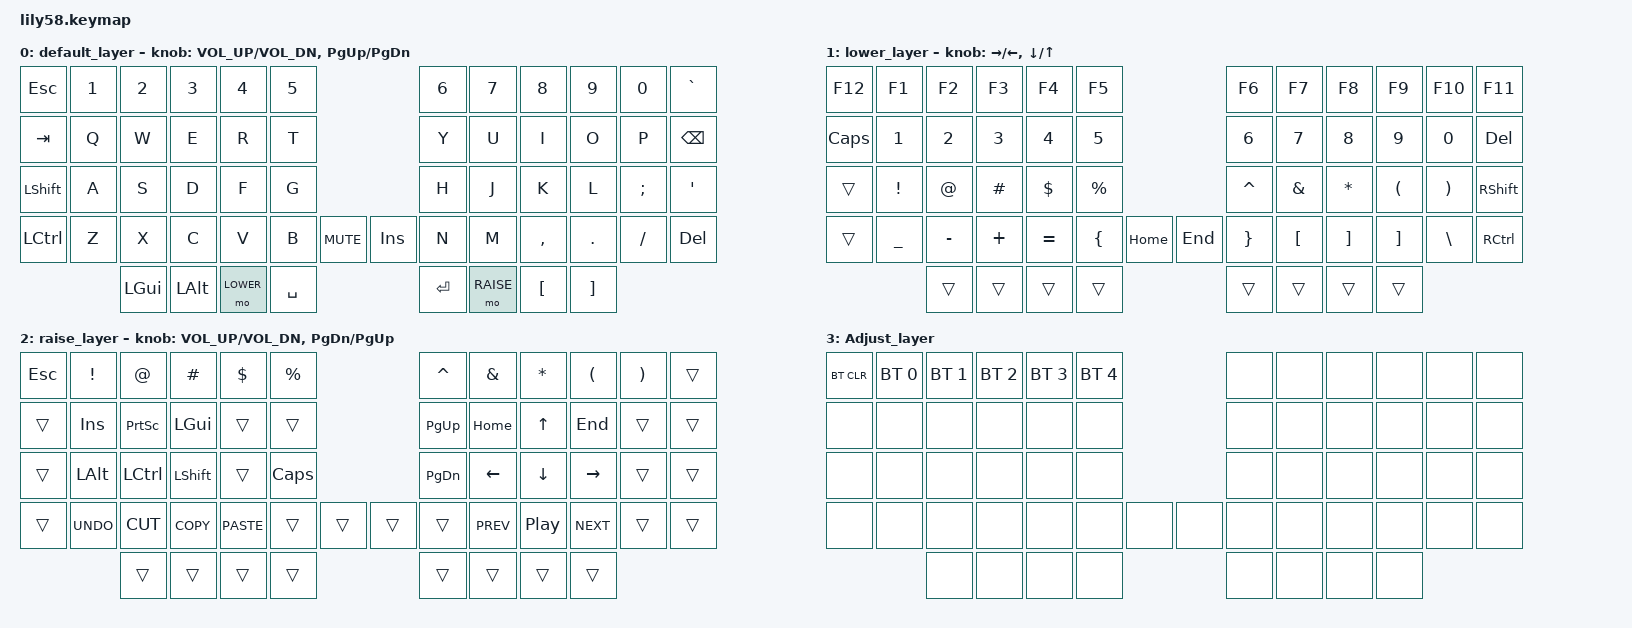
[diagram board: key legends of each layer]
/*
 * Copyright (c) 2020 The ZMK Contributors
 *
 * SPDX-License-Identifier: MIT
 */

#include <behaviors.dtsi>
#include <dt-bindings/zmk/keys.h>
#include <dt-bindings/zmk/bt.h>
#include <dt-bindings/zmk/ext_power.h>
 
#define BASE 0
#define LOWER 1
#define RAISE 2
#define ADJUST 3

/ {

   // Activate ADJUST layer by pressing raise and lower
    conditional_layers {
        compatible = "zmk,conditional-layers";
        adjust_layer {
            if-layers = <LOWER RAISE>;
            then-layer = <ADJUST>;
        };
    };

    keymap {
        compatible = "zmk,keymap";

        default_layer {
// ------------------------------------------------------------------------------------------------------------
// |  ESC  |  1  |  2  |  3   |  4   |  5   |                   |  6   |  7    |  8    |  9   |   0   |   -   |
// |  TAB  |  Q  |  W  |  E   |  R   |  T   |                   |  Y   |  U    |  I    |  O   |   P   | BKSPC |
// | SHIFT |  A  |  S  |  D   |  F   |  G   |                   |  H   |  J    |  K    |  L   |   ;   |   '   |
// | LCTRL |  Z  |  X  |  C   |  V   |  B   |  MUTE  |  |       |  N   |  M    |  ,    |  .   |   /   | SHIFT |
//                     | GUI |  ALT  |LOWER | ENTER  |  | SPACE | RAISE |   [  |   ]   | 
            bindings = <
&kp ESC   &kp N1   &kp N2   &kp N3    &kp N4    &kp N5                       &kp N6  &kp N7    &kp N8    &kp N9   &kp N0    &kp GRAVE
&kp TAB   &kp Q    &kp W    &kp E     &kp R     &kp T                        &kp Y   &kp U     &kp I     &kp O    &kp P     &kp BSPC
&kp LSHFT &kp A    &kp S    &kp D     &kp F     &kp G                        &kp H   &kp J     &kp K     &kp L    &kp SEMI  &kp SQT
&kp LCTRL &kp Z    &kp X    &kp C     &kp V     &kp B   &kp C_MUTE  &kp INS  &kp N   &kp M     &kp COMMA &kp DOT  &kp FSLH   &kp DEL
                   &kp LGUI &kp LALT  &mo LOWER &kp SPACE                    &kp RET &mo RAISE  &kp LBKT &kp RBKT  
            >;

            sensor-bindings = <&inc_dec_kp C_VOL_UP C_VOL_DN &inc_dec_kp  PG_UP PG_DN>;
        };

        lower_layer {
// TODO: Some binds are waiting for shifted keycode support.
// ------------------------------------------------------------------------------------------------------------
// |  F12  |  F1 |  F2 |  F3  |  F4  |  F5  |                   |  F6  |  F7   |  F8   |  F9  |  F10  |  F11  |
// |  CAPS |   1 |   2 |   3  |   4  |   5  |                   |   6  |   7   |   8   |   9  |    0  |  DEL  |
// | SHIFT |  !  |  @  |  #   |  $   |  %   |                   |  ^   |  &    |  *    |  (   |   )   | RSHFT |
// | LCTRL |  _  |  -  |  +   |  =   |  {   |        |  |       |  }   |  [    |  ]    |  \   |   |   | RCTRL |
//                     | GUI |  ALT  |LOWER | ENTER  |  | SPACE | RAISE |   [  |   ]   |
            bindings = <
&kp F12   &kp F1      &kp F2     &kp F3      &kp F4       &kp F5                           &kp F6      &kp F7    &kp F8        &kp F9     &kp F10    &kp F11
&kp CAPS  &kp N1      &kp N2     &kp N3      &kp N4       &kp N5                           &kp N6      &kp N7    &kp N8        &kp N9     &kp N0     &kp DEL
&trans    &kp EXCL    &kp AT     &kp HASH    &kp DOLLAR   &kp PERCENT                      &kp CARET   &kp AMPS  &kp ASTRK     &kp LPAR   &kp RPAR   &kp RSHFT
&trans    &kp UNDER   &kp MINUS  &kp PLUS    &kp EQUAL    &kp LBRC     &kp HOME   &kp END  &kp RBRC    &kp LBKT  &kp RBKT      &kp RBKT   &kp BSLH   &kp RCTRL
                      &trans     &trans      &trans       &trans                           &trans      &trans    &trans        &trans
            >;

            sensor-bindings = <&inc_dec_kp RIGHT LEFT &inc_dec_kp DOWN UP>;
        };

        raise_layer {
// ------------------------------------------------------------------------------------------------------------
// | ESC |  !   |  @   |  #    |  $    |  %   |                |  ^   |  &   |  *    |  (   |   )   |       |
// |     | INS  | PSCR | GUI   |       |      |                |PG_UP | HOME |   ↑   | END  |       |       |
// |     | ALT  | CTRL | SHIFT |       | CAPS |                |PG_DN |  <   |   ↓   |  ->  |       |       |
// |     | UNDO | CUT  | COPY  | PASTE |      |      |  |      |      | Prev | Play  | Next |       |       |
//              |      |       |       |      |      |  |      |      |      |       |      |
            bindings = <
&kp ESC    &kp EXCL     &kp AT       &kp HASH     &kp DOLLAR   &kp PERCENT                     &kp CARET     &kp AMPS       &kp ASTRK     &kp LPAR    &kp RPAR    &trans
&trans     &kp INS      &kp PSCRN    &kp LGUI     &trans       &trans                          &kp PG_UP     &kp HOME       &kp UP        &kp END     &trans      &trans
&trans     &kp LALT     &kp LCTRL    &kp LSHFT    &trans       &kp CLCK                        &kp PG_DN     &kp LEFT       &kp DOWN      &kp RIGHT   &trans      &trans
&trans     &kp K_UNDO   &kp K_CUT    &kp K_COPY   &kp K_PASTE  &trans        &trans   &trans   &trans        &kp C_PREV     &kp C_PP      &kp C_NEXT  &trans      &trans 
                        &trans       &trans       &trans       &trans                          &trans        &trans         &trans        &trans
            >;

            sensor-bindings = <&inc_dec_kp C_VOL_UP C_VOL_DN &inc_dec_kp PG_DN PG_UP>;
        };

// ------------------------------------------------------------------------------------------------------------
// |BTCLR | BT1   | BT2   |  BT3  |  BT4  |  BT5  |                |      |      |       |      |       |       |
// |      |       |       |       |       |       |                |      |      |       |      |       |       |
// |      |       |       |       |       |       |                |      |      |       |      |       |       |
// |      |       |       |       |       |       |       | |      |      |      |       |      |       |       |
//                |       |       |       |       |       | |      |      |      |       |      |

        Adjust_layer {
        bindings = <
        &bt BT_CLR   &bt BT_SEL 0         &bt BT_SEL 1    &bt BT_SEL 2    &bt BT_SEL 3     &bt BT_SEL 4                                     &none &none &none &none &none &none
&none                           &none           &none           &none           &none           &none                                       &none &none &none &none &none &none
&none                           &none           &none           &none           &none           &none                                       &none &none &none &none &none &none
&none                           &none           &none           &none           &none           &none      &none            &none           &none &none &none &none &none &none
                                                &none           &none           &none           &none                                       &none &none &none &none
        >;
        };

    };
};
